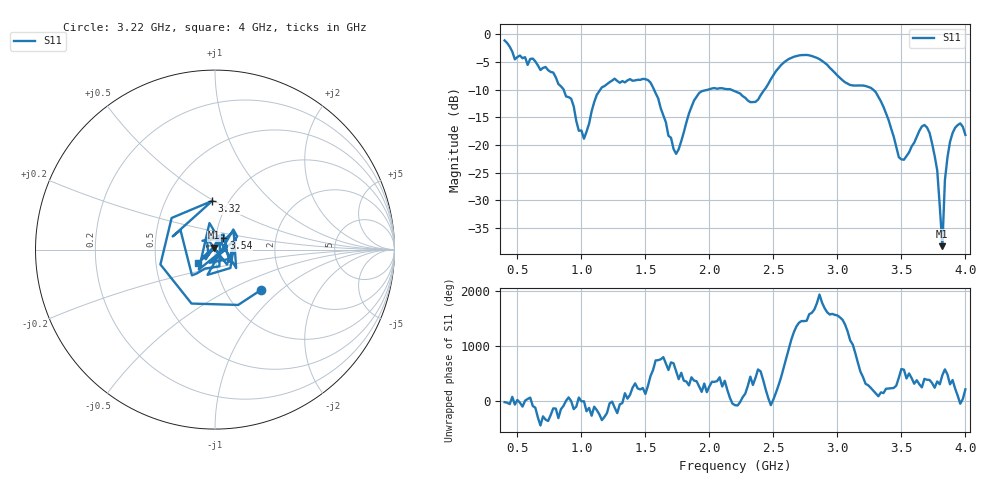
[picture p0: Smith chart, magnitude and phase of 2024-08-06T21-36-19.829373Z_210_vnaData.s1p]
!Created with skrf (http://scikit-rf.org).
# Hz S RI R 50.0
!freq ReS11 ImS11
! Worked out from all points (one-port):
!   181 points, 400 MHz to 4 GHz, reference 50 ohm
!   lowest |S11| = -38.3 dB at 3.82 GHz (marker M1), VSWR 1.02, Z = 49.5 + j1.11 ohm
!   |S11| at or under -10 dB: 860.8 MHz to 1.148 GHz (287.5 MHz wide, 28.6 % of centre); 1.567 GHz to 1.992 GHz (425.3 MHz wide, 23.9 % of centre); 3.278 GHz to end of sweep (the widest 3 of 4)
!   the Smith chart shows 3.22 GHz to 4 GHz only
!   S11 on the Smith chart (normalised r, x): 3.22 GHz: 1.46, -0.74; 3.32 GHz: 0.84, +0.49; 3.54 GHz: 1.09, +0.14; 4 GHz: 0.82, -0.13
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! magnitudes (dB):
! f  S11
! 400 MHz  -1.1
! 480 MHz  -4.5
! 860 MHz  -9.9
! 1.02 GHz  -18.9
! 1.12 GHz  -11.0
! 1.3 GHz  -8.8
! 1.54 GHz  -8.7
! 1.72 GHz  -20.8
! 1.76 GHz  -20.8
! 1.92 GHz  -10.6
! 2.2 GHz  -10.3
! 2.36 GHz  -12.2
! 2.66 GHz  -4.1
! 2.86 GHz  -4.5
! 3.1 GHz  -9.2
! 3.22 GHz  -9.4
! 3.32 GHz  -11.3
! 3.48 GHz  -22.2
! 3.54 GHz  -22.0
! 3.56 GHz  -21.4
! 3.66 GHz  -16.7
! 3.72 GHz  -17.8
! 3.78 GHz  -24.6
! 3.82 GHz  -38.3
! 3.84 GHz  -26.4
! 3.88 GHz  -19.4
! 3.96 GHz  -16.1
! 4 GHz  -18.2
